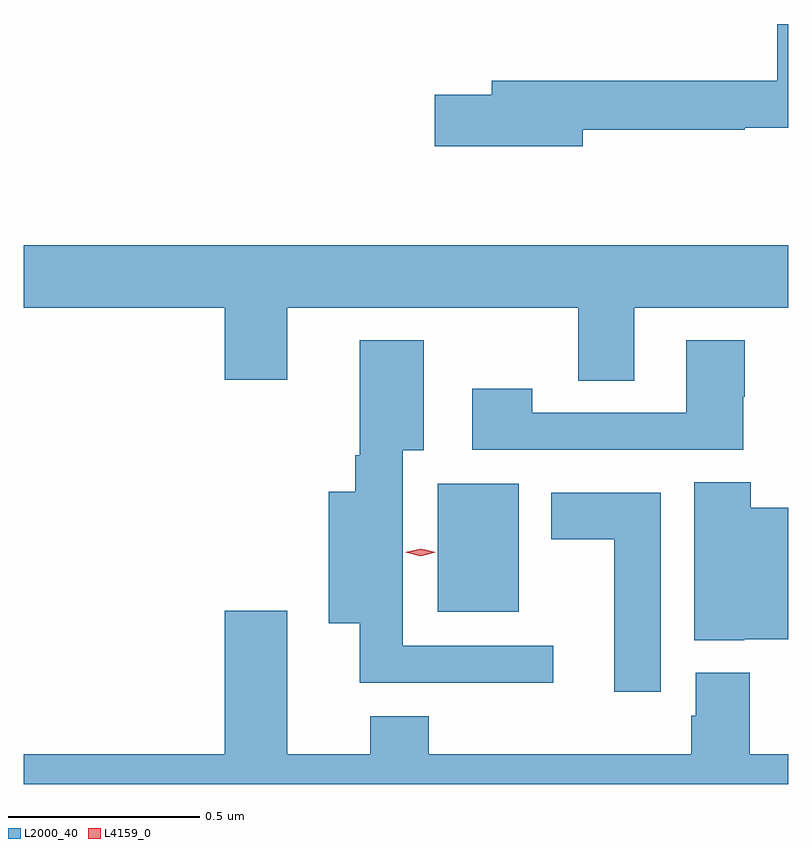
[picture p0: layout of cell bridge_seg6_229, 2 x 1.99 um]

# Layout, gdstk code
import gdstk
lib = gdstk.Library(unit=1e-6, precision=1e-09)
def R(c, l, rs):  # rectangles x0, y0, x1, y1
    for r in rs: c.add(gdstk.rectangle(r[:2], r[2:], *l))
def P(c, l, *ps):  # polygons
    for p in ps: c.add(gdstk.Polygon(p, *l))
L2000_40 = (2000, 40)
L4159_0 = (4159, 0)

bridge_seg6_229 = lib.new_cell('bridge_seg6_229')
R(bridge_seg6_229, L2000_40, [(189.542,962.525,189.754,962.86)])
P(bridge_seg6_229, L2000_40, [(189.922,963.786),(190.346,963.786),(190.346,963.792),(190.459,963.792),(190.459,964.063),(190.43,964.063),(190.43,963.914),(189.683,963.914),(189.683,963.878),(189.534,963.878),(189.534,963.743),(189.922,963.743)],
  [(190.057,963.32),(190.459,963.32),(190.459,963.484),(188.459,963.484),(188.459,963.32),(188.984,963.32),(188.984,963.132),(189.148,963.132),(189.148,963.32),(189.91,963.32),(189.91,963.13),(190.057,963.13)],
  [(190.341,963.087),(190.346,963.087),(190.346,963.235),(190.193,963.235),(190.193,963.045),(189.789,963.045),(189.789,963.109),(189.633,963.109),(189.633,962.949),(190.341,962.949)],
  [(189.844,962.436),(189.451,962.436),(189.451,962.948),(189.505,962.948),(189.505,963.235),(189.338,963.235),(189.338,962.935),(189.326,962.935),(189.326,962.839),(189.257,962.839),(189.257,962.495),(189.338,962.495),(189.338,962.339),(189.844,962.339)],
  [(190.344,962.453),(190.459,962.453),(190.459,962.797),(190.361,962.797),(190.361,962.864),(190.214,962.864),(190.214,962.45),(190.344,962.45)],
  [(190.126,962.836),(189.839,962.836),(189.839,962.714),(190.004,962.714),(190.004,962.316),(190.126,962.316)],
  [(190.459,962.152),(190.358,962.152),(190.358,962.365),(190.217,962.365),(190.217,962.253),(190.205,962.253),(190.205,962.152),(189.518,962.152),(189.518,962.251),(189.365,962.251),(189.365,962.152),(189.148,962.152),(189.148,962.527),(188.984,962.527),(188.984,962.152),(188.459,962.152),(188.459,962.074),(190.459,962.074)])
P(bridge_seg6_229, L4159_0, [(189.497,962.67),(189.457,962.68),(189.457,962.68),(189.457,962.68),(189.497,962.69),(189.537,962.68),(189.537,962.68),(189.537,962.68)])

lib.write_gds('bridge_seg6_229.gds')
